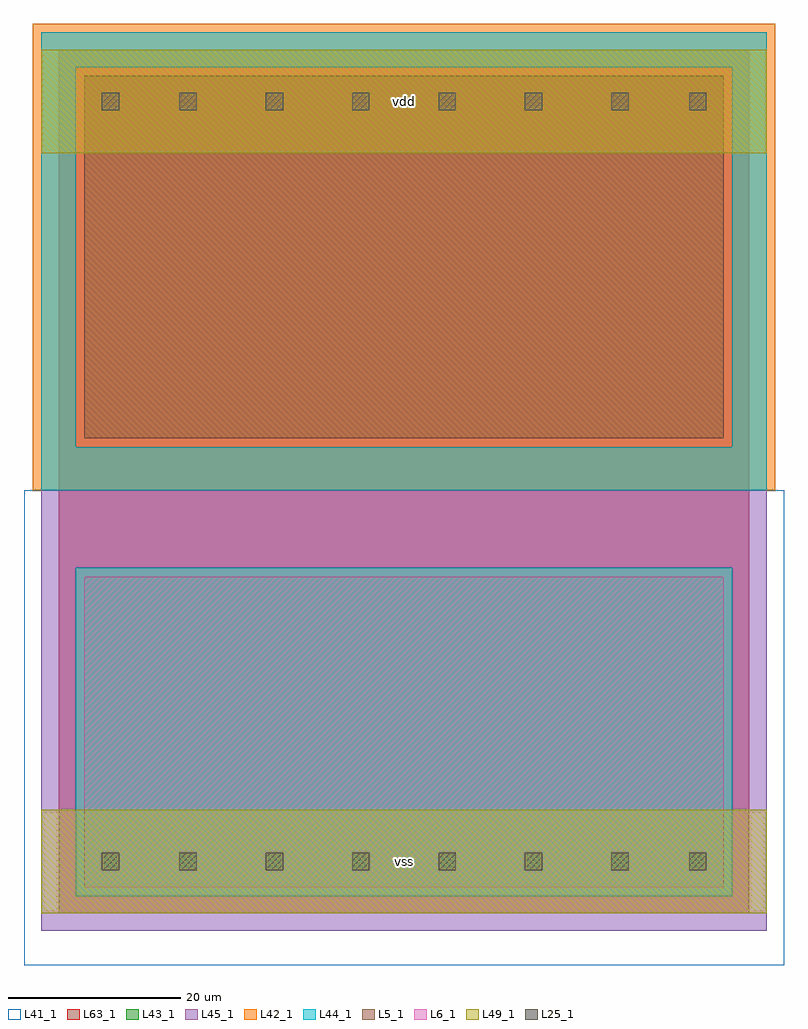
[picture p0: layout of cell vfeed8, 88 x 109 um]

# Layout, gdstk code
import gdstk
lib = gdstk.Library(unit=1e-6, precision=1e-09)
def R(c, l, rs):  # rectangles x0, y0, x1, y1
    for r in rs: c.add(gdstk.rectangle(r[:2], r[2:], *l))
def A(c, l, x, y, w, h, nx, ny, dx, dy):  # array of equal rectangles
    R(c, l, [(x+i*dx, y+j*dy, x+i*dx+w, y+j*dy+h) for i in range(nx) for j in range(ny)])
L5_1 = (5, 1)
L6_1 = (6, 1)
L25_1 = (25, 1)
L41_1 = (41, 1)
L42_1 = (42, 1)
L43_1 = (43, 1)
L44_1 = (44, 1)
L45_1 = (45, 1)
L49_1 = (49, 1)
L63_1 = (63, 1)

vfeed8 = lib.new_cell('vfeed8')
R(vfeed8, L5_1, [(3,55,77,97)])
R(vfeed8, L6_1, [(3,3,77,39)])
A(vfeed8, L25_1, 14, 5, 2, 2, 6, 2, 10, 88)
R(vfeed8, L25_1, [(5,5,7,7), (73,5,75,7), (5,93,7,95), (73,93,75,95)])
R(vfeed8, L41_1, [(-4,-6,84,49), (-3,-3,83,49)])
R(vfeed8, L42_1, [(-3,49,83,103)])
R(vfeed8, L43_1, [(3,3,77,39), (3,55,77,97)])
R(vfeed8, L44_1, [(2,2,78,40), (-2,49,82,54), (-2,54,2,98), (78,54,82,98), (-2,98,82,102)])
R(vfeed8, L45_1, [(-2,-2,82,2), (-2,2,2,40), (78,2,82,40), (-2,40,82,49), (2,54,78,98)])
R(vfeed8, L49_1, [(-2,0,82,12), (-2,88,82,100)])
R(vfeed8, L63_1, [(0,0,80,100)])
vfeed8.add(gdstk.Label('vss', (40,6), layer=49, texttype=1))
vfeed8.add(gdstk.Label('vss', (40,6), layer=49, texttype=1))
vfeed8.add(gdstk.Label('vdd', (40,94), layer=49, texttype=1))
vfeed8.add(gdstk.Label('vdd', (40,94), layer=49, texttype=1))

lib.write_gds('vfeed8.gds')
